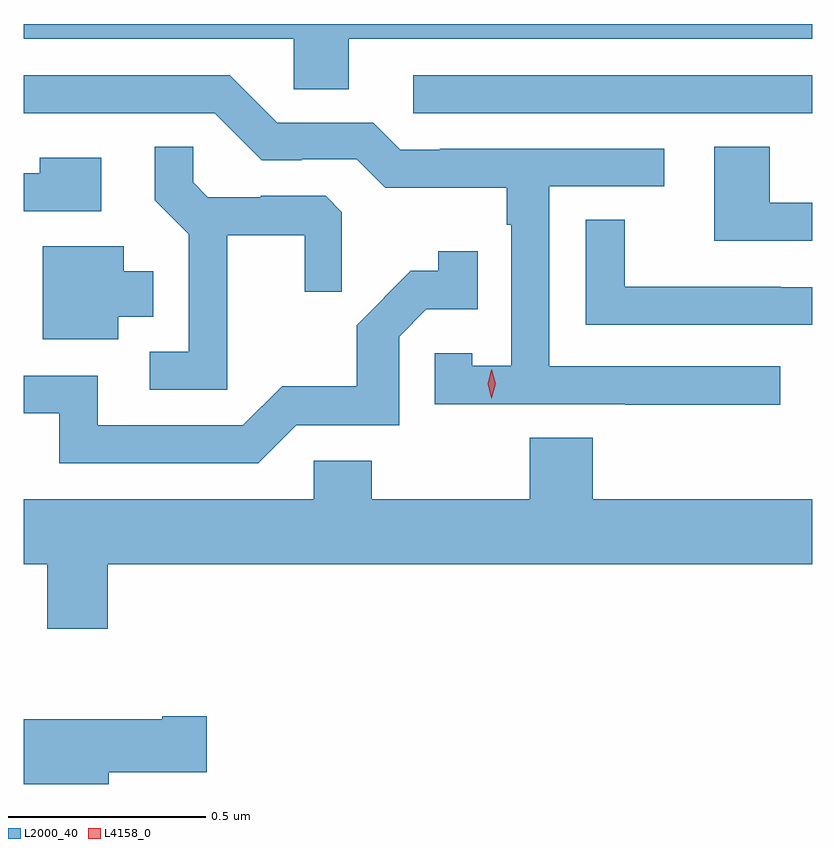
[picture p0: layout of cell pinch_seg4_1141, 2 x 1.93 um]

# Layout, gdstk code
import gdstk
lib = gdstk.Library(unit=1e-6, precision=1e-09)
def R(c, l, rs):  # rectangles x0, y0, x1, y1
    for r in rs: c.add(gdstk.rectangle(r[:2], r[2:], *l))
def P(c, l, *ps):  # polygons
    for p in ps: c.add(gdstk.Polygon(p, *l))
L2000_40 = (2000, 40)
L4158_0 = (4158, 0)

pinch_seg4_1141 = lib.new_cell('pinch_seg4_1141')
R(pinch_seg4_1141, L2000_40, [(442.647,796.632,443.659,796.728)])
P(pinch_seg4_1141, L2000_40, [(442.483,796.82),(443.659,796.82),(443.659,796.858),(441.659,796.858),(441.659,796.82),(442.344,796.82),(442.344,796.693),(442.483,796.693)],
  [(443.578,795.99),(442.992,795.99),(442.992,796.446),(443.284,796.446),(443.284,796.542),(442.714,796.542),(442.714,796.539),(442.614,796.539),(442.545,796.608),(442.302,796.608),(442.182,796.728),(441.659,796.728),(441.659,796.632),(442.143,796.632),(442.263,796.512),(442.364,796.512),(442.364,796.515),(442.503,796.515),(442.576,796.442),(442.884,796.442),(442.884,796.349),(442.896,796.349),(442.896,795.991),(442.797,795.991),(442.797,796.023),(442.701,796.023),(442.701,795.894),(443.185,795.894),(443.185,795.892),(443.578,795.892)],
  [(442.175,796.322),(442.372,796.322),(442.372,796.179),(442.466,796.179),(442.466,796.381),(442.425,796.422),(442.26,796.422),(442.26,796.419),(442.126,796.419),(442.089,796.456),(442.089,796.547),(441.991,796.547),(441.991,796.411),(442.077,796.325),(442.077,796.026),(441.978,796.026),(441.978,795.93),(442.175,795.93)],
  [(443.659,796.404),(443.551,796.404),(443.551,796.547),(443.411,796.547),(443.411,796.308),(443.659,796.308)],
  [(441.856,796.519),(441.7,796.519),(441.7,796.479),(441.659,796.479),(441.659,796.383),(441.856,796.383)],
  [(443.659,796.19),(443.579,796.19),(443.579,796.191),(443.184,796.191),(443.184,796.361),(443.085,796.361),(443.085,796.095),(443.659,796.095)],
  [(441.898,796.115),(441.988,796.115),(441.988,796.231),(441.913,796.231),(441.913,796.294),(441.707,796.294),(441.707,796.058),(441.898,796.058)],
  [(442.35,795.84),(442.611,795.84),(442.611,796.065),(442.68,796.134),(442.811,796.134),(442.811,796.282),(442.71,796.282),(442.71,796.232),(442.64,796.232),(442.503,796.094),(442.503,795.939),(442.314,795.939),(442.215,795.84),(441.847,795.84),(441.847,795.966),(441.659,795.966),(441.659,795.87),(441.749,795.87),(441.749,795.744),(442.254,795.744)],
  [(441.872,795.488),(443.659,795.488),(443.659,795.652),(443.102,795.652),(443.102,795.809),(442.942,795.809),(442.942,795.652),(442.542,795.652),(442.542,795.75),(442.395,795.75),(442.395,795.652),(441.659,795.652),(441.659,795.488),(441.719,795.488),(441.719,795.324),(441.872,795.324)],
  [(441.874,794.96),(442.123,794.96),(442.123,795.102),(442.01,795.102),(442.01,795.094),(441.659,795.094),(441.659,794.93),(441.874,794.93)])
P(pinch_seg4_1141, L4158_0, [(442.846,795.909),(442.845,795.91),(442.836,795.945),(442.845,795.981),(442.846,795.981),(442.846,795.981),(442.856,795.945),(442.846,795.91)])

lib.write_gds('pinch_seg4_1141.gds')
